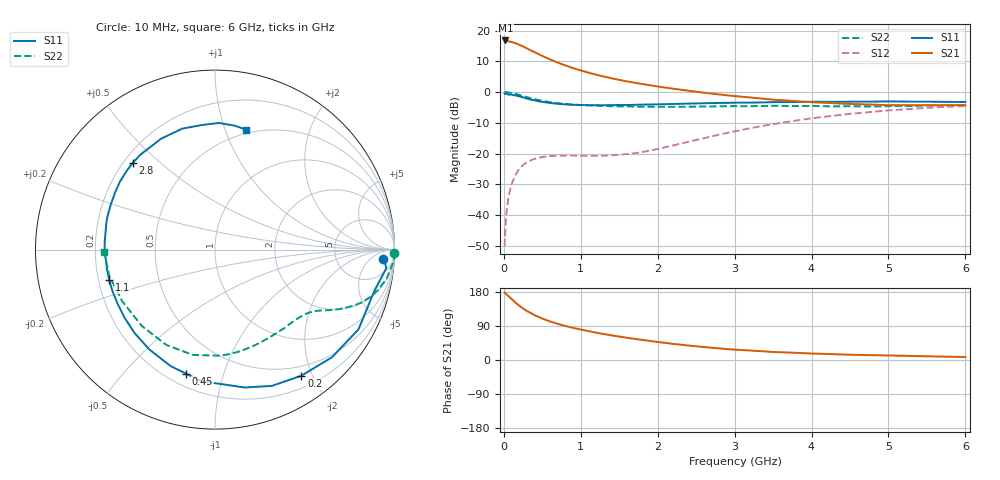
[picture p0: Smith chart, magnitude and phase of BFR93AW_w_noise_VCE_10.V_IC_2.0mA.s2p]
! Infineon Technologies  Discrete & RF Semiconductors
! BFR93AW
! VCE =  10. V,  IC =  2.0 mA
! Common Emitter S-Parameters:  Jan 2017
# GHz  S  MA  R  50
!  f  S11  S21  S12  S22
! GHz  MAG  ANG  MAG  ANG  MAG  ANG  MAG  ANG
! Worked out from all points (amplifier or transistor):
!   77 points, 10 MHz to 6 GHz, reference 50 ohm
!   highest |S21| = 16.8 dB at 20 MHz (marker M1)
!   |S21| within 3 dB of that: start of sweep to 332.5 MHz
!   unconditionally stable (mu >= 1): 1.291 GHz to 2.236 GHz
!   at 130 MHz: K = 0.10, MSG = 22.1 dB, |S12| = -28.2 dB
!   at 2.2 GHz: K = 1.01, MAG = 8.5 dB, |S12| = -17.4 dB
!   at 6 GHz: K = 0.95, MSG = 0.1 dB, |S12| = -4.5 dB
!   lowest NFmin = 1.49 dB at 450 MHz
!   S11 on the Smith chart (normalised r, x): 10 MHz: 18, -16; 200 MHz: 0.36, -1.84; 450 MHz: 0.27, -0.76; 1.1 GHz: 0.24, -0.13; 2.8 GHz: 0.24, +0.41; 6 GHz: 0.46, +1.18
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0.01  0.9401 -3.1  6.805 178.1  0.0031 84.6  1 -1.0
0.02  0.9607 -6.1  6.937 176.3  0.0063 91.0  1 -2.2
0.05  0.9169 -14.6  6.773 170.4  0.016 80.7  0.9905 -4.9
0.1  0.9147 -29.1  6.562 160.9  0.0312 75.4  0.9704 -9.5
0.15  0.8856 -42.7  6.261 151.8  0.0445 67.0  0.9376 -13.8
0.2  0.8518 -55.6  5.901 143.4  0.0561 61.4  0.9018 -17.2
0.25  0.8227 -67.4  5.543 135.8  0.065 55.6  0.8655 -20.0
0.3  0.7857 -77.9  5.149 129.3  0.0721 50.2  0.8281 -22.3
0.4  0.7369 -95.9  4.47 118.1  0.0821 44.0  0.7676 -25.6
0.45  0.7094 -103.2  4.162 114.0  0.0849 41.5  0.744 -26.7
0.5  0.6942 -110.9  3.879 109.3  0.0878 39.1  0.7206 -27.9
0.6  0.666 -123.3  3.414 101.8  0.0911 36.0  0.6857 -29.6
0.7  0.6459 -133.8  3.026 95.4  0.0921 34.0  0.6612 -31.1
0.9  0.621 -150.7  2.461 84.8  0.0928 33.2  0.6276 -34.2
1.1  0.6133 -164.1  2.076 76.2  0.0925 35.9  0.6081 -37.6
1.6  0.6169 171.6  1.495 58.6  0.0979 50.1  0.5841 -48.3
2.1  0.6357 153.5  1.185 45.2  0.1269 64.7  0.5754 -61.3
2.8  0.6666 133.3  0.916 30.5  0.203 71.3  0.5876 -81.5
3.1  0.673 125.7  0.84 26.2  0.2437 69.6  0.5903 -90.1
4.1  0.6967 103.4  0.676 16.5  0.3875 58.1  0.591 -120.3
5.1  0.7037 86.8  0.613 11.5  0.5132 42.5  0.5911 -153.8
6  0.6908 75.4  0.613 7.8  0.5959 28.6  0.6167 -178.6
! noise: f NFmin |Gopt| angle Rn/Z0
0.45  1.49  0.44  71  0.2
0.9  1.76  0.41  128  0.21
1.9  3.23  0.56  -159  0.25
2.4  4.18  0.62  -139  0.45
